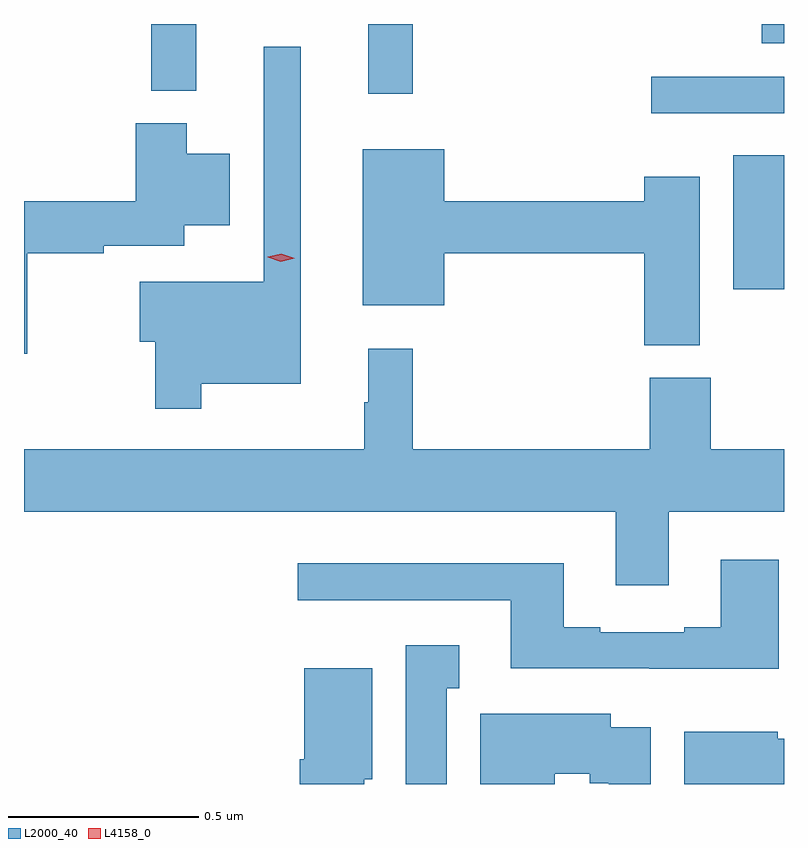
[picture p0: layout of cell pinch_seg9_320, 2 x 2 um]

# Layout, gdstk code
import gdstk
lib = gdstk.Library(unit=1e-6, precision=1e-09)
def R(c, l, rs):  # rectangles x0, y0, x1, y1
    for r in rs: c.add(gdstk.rectangle(r[:2], r[2:], *l))
def P(c, l, *ps):  # polygons
    for p in ps: c.add(gdstk.Polygon(p, *l))
L2000_40 = (2000, 40)
L4158_0 = (4158, 0)

pinch_seg9_320 = lib.new_cell('pinch_seg9_320')
R(pinch_seg9_320, L2000_40, [(610.916,1202.333,611.05,1202.686), (610.701,1202.796,611.05,1202.892), (609.956,1202.847,610.073,1203.031), (609.385,1202.855,609.503,1203.031), (610.991,1202.981,611.05,1203.031)])
P(pinch_seg9_320, L2000_40, [(609.517,1202.084),(609.778,1202.084),(609.778,1202.971),(609.681,1202.971),(609.681,1202.353),(609.354,1202.353),(609.354,1202.195),(609.396,1202.195),(609.396,1202.019),(609.517,1202.019)],
  [(609.058,1202.428),(609.26,1202.428),(609.26,1202.448),(609.472,1202.448),(609.472,1202.501),(609.592,1202.501),(609.592,1202.689),(609.478,1202.689),(609.478,1202.77),(609.344,1202.77),(609.344,1202.564),(609.05,1202.564),(609.05,1202.163),(609.058,1202.163)],
  [(610.828,1202.629),(610.682,1202.629),(610.682,1202.564),(610.156,1202.564),(610.156,1202.701),(609.941,1202.701),(609.941,1202.291),(610.156,1202.291),(610.156,1202.428),(610.682,1202.428),(610.682,1202.185),(610.828,1202.185)],
  [(610.747,1201.748),(611.05,1201.748),(611.05,1201.912),(610.857,1201.912),(610.857,1202.1),(610.697,1202.1),(610.697,1201.912),(610.073,1201.912),(610.073,1202.176),(609.956,1202.176),(609.956,1202.036),(609.945,1202.036),(609.945,1201.912),(609.05,1201.912),(609.05,1201.748),(610.607,1201.748),(610.607,1201.554),(610.747,1201.554)],
  [(611.036,1201.621),(610.883,1201.621),(610.883,1201.444),(610.787,1201.444),(610.787,1201.431),(610.567,1201.431),(610.567,1201.444),(610.471,1201.444),(610.471,1201.612),(609.771,1201.612),(609.771,1201.515),(610.331,1201.515),(610.331,1201.335),(610.695,1201.335),(610.695,1201.334),(611.036,1201.334)],
  [(610.162,1201.283),(610.195,1201.283),(610.195,1201.396),(610.055,1201.396),(610.055,1201.031),(610.162,1201.031)],
  [(609.946,1201.044),(609.967,1201.044),(609.967,1201.336),(609.788,1201.336),(609.788,1201.096),(609.776,1201.096),(609.776,1201.031),(609.946,1201.031)],
  [(610.447,1201.058),(610.539,1201.058),(610.539,1201.033),(610.589,1201.033),(610.589,1201.031),(610.699,1201.031),(610.699,1201.18),(610.594,1201.18),(610.594,1201.216),(610.25,1201.216),(610.25,1201.031),(610.447,1201.031)],
  [(611.05,1201.15),(611.034,1201.15),(611.034,1201.168),(610.787,1201.168),(610.787,1201.031),(611.05,1201.031)])
P(pinch_seg9_320, L4158_0, [(609.726,1202.406),(609.692,1202.417),(609.691,1202.417),(609.692,1202.418),(609.727,1202.426),(609.762,1202.415),(609.762,1202.415),(609.762,1202.415)])

lib.write_gds('pinch_seg9_320.gds')
